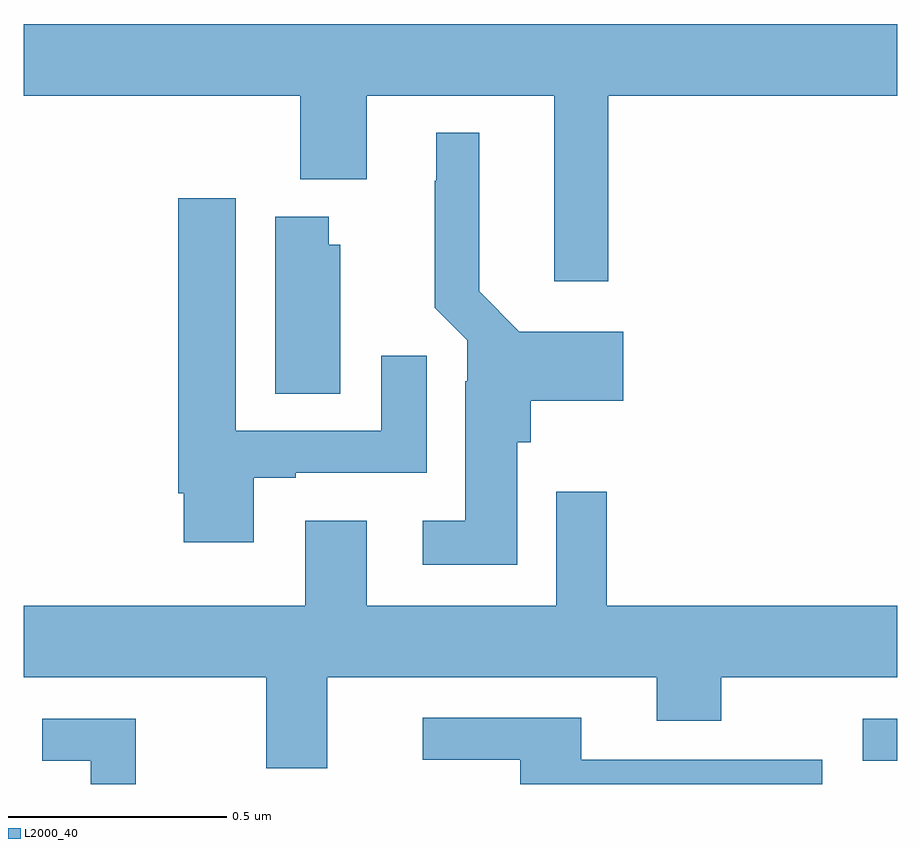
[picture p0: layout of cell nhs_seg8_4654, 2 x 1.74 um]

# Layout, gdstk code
import gdstk
lib = gdstk.Library(unit=1e-6, precision=1e-09)
def R(c, l, rs):  # rectangles x0, y0, x1, y1
    for r in rs: c.add(gdstk.rectangle(r[:2], r[2:], *l))
def P(c, l, *ps):  # polygons
    for p in ps: c.add(gdstk.Polygon(p, *l))
L2000_40 = (2000, 40)

nhs_seg8_4654 = lib.new_cell('nhs_seg8_4654')
R(nhs_seg8_4654, L2000_40, [(174.921,1138.953,175,1139.049)])
P(nhs_seg8_4654, L2000_40, [(174.338,1140.476),(175,1140.476),(175,1140.64),(173,1140.64),(173,1140.476),(173.633,1140.476),(173.633,1140.284),(173.785,1140.284),(173.785,1140.476),(174.215,1140.476),(174.215,1140.051),(174.338,1140.051)],
  [(174.13,1139.682),(174.161,1139.682),(174.161,1139.777),(174.373,1139.777),(174.373,1139.935),(174.135,1139.935),(174.043,1140.028),(174.043,1140.391),(173.945,1140.391),(173.945,1140.281),(173.941,1140.281),(173.941,1139.99),(174.015,1139.916),(174.015,1139.822),(174.011,1139.822),(174.011,1139.503),(173.913,1139.503),(173.913,1139.402),(174.13,1139.402)],
  [(173.527,1139.601),(173.623,1139.601),(173.623,1139.613),(173.923,1139.613),(173.923,1139.881),(173.819,1139.881),(173.819,1139.709),(173.485,1139.709),(173.485,1140.241),(173.354,1140.241),(173.354,1139.566),(173.366,1139.566),(173.366,1139.454),(173.527,1139.454)],
  [(173.725,1140.135),(173.698,1140.135),(173.698,1140.199),(173.576,1140.199),(173.576,1139.794),(173.725,1139.794)],
  [(173.695,1139.144),(174.449,1139.144),(174.449,1139.045),(174.597,1139.045),(174.597,1139.144),(175,1139.144),(175,1139.308),(174.335,1139.308),(174.335,1139.569),(174.219,1139.569),(174.219,1139.308),(173.785,1139.308),(173.785,1139.503),(173.645,1139.503),(173.645,1139.308),(173,1139.308),(173,1139.144),(173.555,1139.144),(173.555,1138.936),(173.695,1138.936)],
  [(174.828,1138.956),(174.277,1138.956),(174.277,1139.052),(173.913,1139.052),(173.913,1138.956),(174.137,1138.956),(174.137,1138.9),(174.828,1138.9)],
  [(173.257,1139.049),(173.043,1139.049),(173.043,1138.953),(173.153,1138.953),(173.153,1138.9),(173.257,1138.9)])

lib.write_gds('nhs_seg8_4654.gds')
